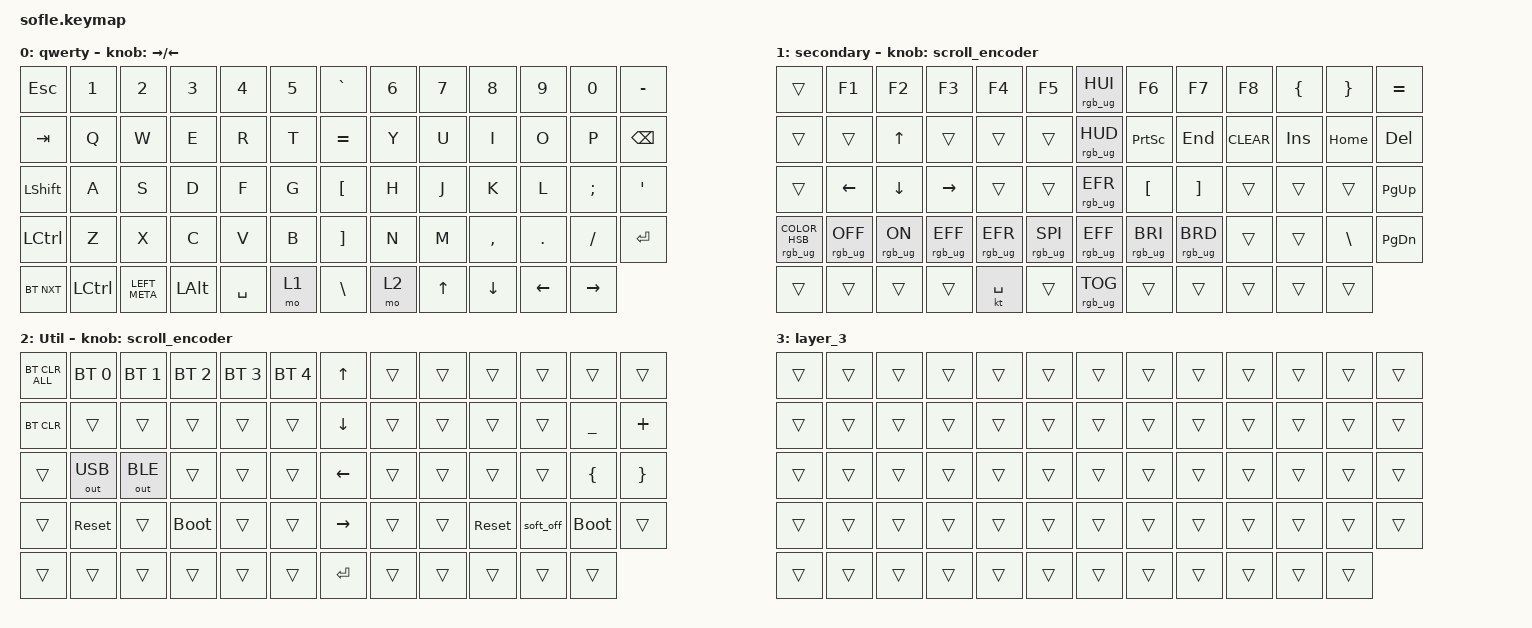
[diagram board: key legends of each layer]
#include <behaviors/mouse_keys.dtsi>
#include <dt-bindings/zmk/mouse.h>
#include <behaviors.dtsi>
#include <dt-bindings/zmk/bt.h>
#include <dt-bindings/zmk/keys.h>
#include <dt-bindings/zmk/keys.h>
#include <dt-bindings/zmk/outputs.h>
#include <dt-bindings/zmk/rgb.h>

#define ZMK_MOUSE_DEFAULT_MOVE_VAL 1200  // 600
#define ZMK_MOUSE_DEFAULT_SCRL_VAL 20    // 10
#define U_MS_U &mmv MOVE_UP
#define U_MS_D &mmv MOVE_DOWN
#define U_MS_L &mmv MOVE_LEFT
#define U_MS_R &mmv MOVE_RIGHT
#define ZMK_MOUSE_DEFAULT_MOVE_VAL 1200  //  600
#define ZMK_MOUSE_DEFAULT_SCRL_VAL 20    // 10

/ {
    behaviors {
        mmv {
            acceleration-exponent = <1>;      // 1
            time-to-max-speed-ms = <900>;    // 40
            delay-ms = <0>;                   // 0
        };

        msc {
            acceleration-exponent = <1>;      // 0
            time-to-max-speed-ms = <400>;      // 500
            delay-ms = <0>;                   //   10
        };
    };

    scroll_encoder: scroll_encoder {
        compatible = "zmk,behavior-sensor-rotate";
        #sensor-binding-cells = <0>;
        bindings = <&msc SCRL_DOWN>, <&msc SCRL_UP>;

        tap-ms = <30>;
    };

    keymap {
        compatible = "zmk,keymap";

        L0 {
            bindings = <
&kp ESC           &kp N1     &kp N2         &kp N3    &kp N4     &kp N5    &kp GRAVE          &kp N6  &kp N7        &kp N8     &kp N9    &kp N0     &kp MINUS
&kp TAB           &kp Q      &kp W          &kp E     &kp R      &kp T     &kp EQUAL          &kp Y   &kp U         &kp I      &kp O     &kp P      &kp BACKSPACE
&kp LEFT_SHIFT    &kp A      &kp S          &kp D     &kp F      &kp G     &kp LEFT_BRACKET   &kp H   &kp J         &kp K      &kp L     &kp SEMI   &kp SINGLE_QUOTE
&kp LEFT_CONTROL  &kp Z      &kp X          &kp C     &kp V      &kp B     &kp RIGHT_BRACKET  &kp N   &kp M         &kp COMMA  &kp DOT   &kp FSLH   &kp ENTER
&bt BT_NXT        &kp LCTRL  &kp LEFT_META  &kp LALT  &kp SPACE  &mo 1     &kp BACKSLASH      &mo 2   &kp UP_ARROW  &kp DOWN   &kp LEFT  &kp RIGHT
            >;

            sensor-bindings = <&inc_dec_kp RIGHT LEFT>;
            display-name = "qwerty";
        };

        L1 {
            bindings = <
&trans                          &kp F1           &kp F2          &kp F3           &kp F4           &kp F5             &rgb_ug RGB_HUI  &kp F6            &kp F7             &kp F8     &kp LEFT_BRACE  &kp RIGHT_BRACE  &kp EQUAL
&trans                          &trans           &kp UP          &trans           &trans           &trans             &rgb_ug RGB_HUD  &kp PRINTSCREEN   &kp END            &kp CLEAR  &kp INSERT      &kp HOME         &kp DELETE
&trans                          &kp LEFT         &kp DOWN        &kp RIGHT        &trans           &trans             &rgb_ug RGB_EFR  &kp LEFT_BRACKET  &kp RIGHT_BRACKET  &trans     &trans          &trans           &kp PAGE_UP
&rgb_ug RGB_COLOR_HSB(0,0,100)  &rgb_ug RGB_OFF  &rgb_ug RGB_ON  &rgb_ug RGB_EFF  &rgb_ug RGB_EFR  &rgb_ug RGB_SPI    &rgb_ug RGB_EFF  &rgb_ug RGB_BRI   &rgb_ug RGB_BRD    &trans     &trans          &kp BACKSLASH    &kp PAGE_DOWN
&trans                          &trans           &trans          &trans           &kt SPACE        &trans             &rgb_ug RGB_TOG  &trans            &trans             &trans     &trans          &trans
            >;

            display-name = "secondary";
            sensor-bindings = <&scroll_encoder>;
        };

        Utility {
            bindings = <
&bt BT_CLR_ALL  &bt BT_SEL 0  &bt BT_SEL 1  &bt BT_SEL 2  &bt BT_SEL 3  &bt BT_SEL 4    &kp UP_ARROW  &trans  &trans  &trans      &trans     &trans       &trans
&bt BT_CLR      &trans        &trans        &trans        &trans        &trans          &kp DOWN      &trans  &trans  &trans      &trans     &kp UNDER    &kp PLUS
&trans          &out OUT_USB  &out OUT_BLE  &trans        &trans        &trans          &kp LEFT      &trans  &trans  &trans      &trans     &kp LBRC     &kp RBRC
&trans          &sys_reset    &trans        &bootloader   &trans        &trans          &kp RIGHT     &trans  &trans  &sys_reset  &soft_off  &bootloader  &trans
&trans          &trans        &trans        &trans        &trans        &trans          &kp ENTER     &trans  &trans  &trans      &trans     &trans
            >;

            sensor-bindings = <&scroll_encoder>;
            label = "Util";
        };

        layer_3 {
            bindings = <
&trans  &trans  &trans  &trans  &trans  &trans    &trans  &trans  &trans  &trans  &trans  &trans  &trans
&trans  &trans  &trans  &trans  &trans  &trans    &trans  &trans  &trans  &trans  &trans  &trans  &trans
&trans  &trans  &trans  &trans  &trans  &trans    &trans  &trans  &trans  &trans  &trans  &trans  &trans
&trans  &trans  &trans  &trans  &trans  &trans    &trans  &trans  &trans  &trans  &trans  &trans  &trans
&trans  &trans  &trans  &trans  &trans  &trans    &trans  &trans  &trans  &trans  &trans  &trans
            >;
        };
    };
};
